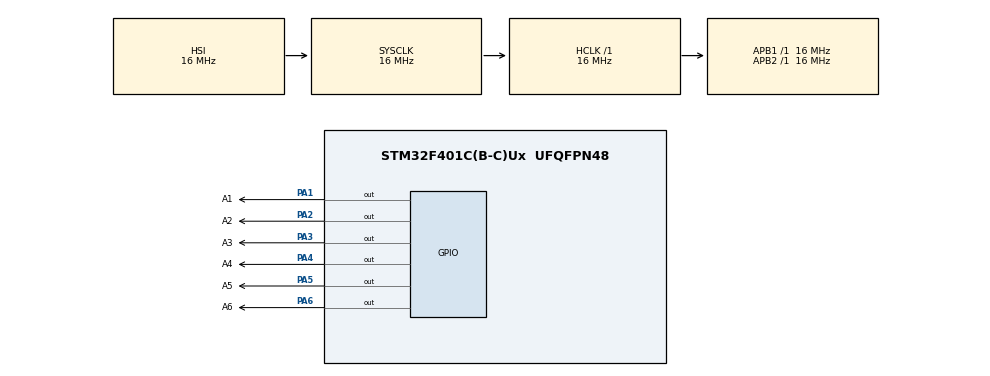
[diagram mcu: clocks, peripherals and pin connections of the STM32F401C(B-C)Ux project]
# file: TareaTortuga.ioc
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Mcu.Family=STM32F4
Mcu.Name=STM32F401C(B-C)Ux
Mcu.Package=UFQFPN48
NVIC.PriorityGroup=NVIC_PRIORITYGROUP_4
PA1.GPIO_Label=A1
PA1.Signal=GPIO_Output
PA2.GPIO_Label=A2
PA2.Signal=GPIO_Output
PA3.GPIO_Label=A3
PA3.Signal=GPIO_Output
PA4.GPIO_Label=A4
PA4.Signal=GPIO_Output
PA5.GPIO_Label=A5
PA5.Signal=GPIO_Output
PA6.GPIO_Label=A6
PA6.Signal=GPIO_Output
ProjectManager.HeapSize=0x200
ProjectManager.StackSize=0x400
ProjectManager.TargetToolchain=CMake
RCC.AHBFreq_Value=16000000
RCC.APB1Freq_Value=16000000
RCC.APB2Freq_Value=16000000
RCC.CortexFreq_Value=16000000
RCC.HSE_VALUE=25000000
RCC.HSI_VALUE=16000000
RCC.LSE_VALUE=32768
RCC.SYSCLKFreq_VALUE=16000000
RCC.VCOOutputFreq_Value=192000000
board=custom

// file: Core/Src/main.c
/* USER CODE BEGIN Header */
/**
  ******************************************************************************
  * @file           : main.c
  * @brief          : Main program body
  ******************************************************************************
  * @attention
  *
  * Copyright (c) 2026 STMicroelectronics.
  * All rights reserved.
  *
  * This software is licensed under terms that can be found in the LICENSE file
  * in the root directory of this software component.
  * If no LICENSE file comes with this software, it is provided AS-IS.
  *
  ******************************************************************************
  */
/* USER CODE END Header */
#include "main.h"

void SystemClock_Config(void);
static void MX_GPIO_Init(void);

/* USER CODE BEGIN 0 */
#define T_GIRO_90 700   // ms que tarda en girar 90° sobre su eje (calibrar)

// Pines
#define MI_EN  GPIO_PIN_3
#define MI_ATR GPIO_PIN_1
#define MI_ADE GPIO_PIN_2
#define MD_EN  GPIO_PIN_6
#define MD_ATR GPIO_PIN_5
#define MD_ADE GPIO_PIN_4

// Orientación actual en grados: 0 = arriba, 90 = derecha, 180 = abajo, 270 = izquierda
int orientacion = 0;

void motorIzq(int dir) {   // 1 adelante, -1 atrás, 0 parar
  HAL_GPIO_WritePin(GPIOA, MI_EN,  dir != 0 ? GPIO_PIN_SET : GPIO_PIN_RESET);
  HAL_GPIO_WritePin(GPIOA, MI_ADE, dir > 0  ? GPIO_PIN_SET : GPIO_PIN_RESET);
  HAL_GPIO_WritePin(GPIOA, MI_ATR, dir < 0  ? GPIO_PIN_SET : GPIO_PIN_RESET);
}

void motorDer(int dir) {
  HAL_GPIO_WritePin(GPIOA, MD_EN,  dir != 0 ? GPIO_PIN_SET : GPIO_PIN_RESET);
  HAL_GPIO_WritePin(GPIOA, MD_ADE, dir > 0  ? GPIO_PIN_SET : GPIO_PIN_RESET);
  HAL_GPIO_WritePin(GPIOA, MD_ATR, dir < 0  ? GPIO_PIN_SET : GPIO_PIN_RESET);
}

void parar(void)    { motorIzq(0);  motorDer(0); }
void adelante(void) { motorIzq(1);  motorDer(1); }

  motorIzq(-1); motorDer(1);
  HAL_Delay(ms);
  parar();
  orientacion = (((orientacion - (int)(ms * 90 / T_GIRO_90)) % 360) + 360) % 360;
}

void girarDerMs(uint32_t ms) {
  motorIzq(1); motorDer(-1);
  HAL_Delay(ms);
  parar();
  orientacion = (orientacion + (int)(ms * 90 / T_GIRO_90)) % 360;
}

void orientar(int objetivo) {
  int diff = (((objetivo - orientacion) % 360) + 360) % 360;
  if (diff == 0) return;
  if (diff <= 180) girarDerMs((uint32_t)T_GIRO_90 * diff / 90);
  else             girarIzqMs((uint32_t)T_GIRO_90 * (360 - diff) / 90);
  orientacion = objetivo;
  HAL_Delay(300);
}

// 1) Vueltas hacia la izquierda, 5 s
void secuencia1(void) {
  girarIzqMs(5000);
  HAL_Delay(500);
}

// 2) Vueltas hacia la derecha, 3 s
void secuencia2(void) {
  orientar(90);
  adelante(); HAL_Delay(3000); parar();
  HAL_Delay(500);
}

// 3) Recto hacia arriba, 2 s
void secuencia3(void) {
  orientar(180);
  adelante(); HAL_Delay(2000); parar();
  HAL_Delay(500);
}

// 4) Vueltas hacia la izquierda, 2 s
void secuencia4(void) {
  orientar(0);
  girarIzqMs(2000);
}
/* USER CODE END 0 */

int main(void)
{

  /* MCU Configuration--------------------------------------------------------*/

  /* Reset of all peripherals, Initializes the Flash interface and the Systick. */
  HAL_Init();

  /* Configure the system clock */
  SystemClock_Config();

  /* Initialize all configured peripherals */
  MX_GPIO_Init();
  /* USER CODE BEGIN 2 */
  parar();
  HAL_Delay(1000);

  motorIzq(1);               HAL_Delay(3000); parar(); HAL_Delay(1500);  // A) solo izquierda adelante
  motorDer(1);               HAL_Delay(3000); parar(); HAL_Delay(1500);  // B) solo derecha adelante
  adelante();                HAL_Delay(3000); parar(); HAL_Delay(1500);  // C) ambas adelante
  motorIzq(-1); motorDer(1); HAL_Delay(3000); parar();                   // D) giro sobre el eje
  /* USER CODE END 2 */

  /* Infinite loop */
  /* USER CODE BEGIN WHILE */
  while (1)
  {
    // HAL_GPIO_TogglePin(LED_GPIO_Port, LED_Pin);
    // HAL_Delay(500);
    /* USER CODE END WHILE */

  }
}

void SystemClock_Config(void)
{
  RCC_OscInitTypeDef RCC_OscInitStruct = {0};
  RCC_ClkInitTypeDef RCC_ClkInitStruct = {0};

  /** Configure the main internal regulator output voltage
  */
  __HAL_RCC_PWR_CLK_ENABLE();
  __HAL_PWR_VOLTAGESCALING_CONFIG(PWR_REGULATOR_VOLTAGE_SCALE2);

  /** Initializes the RCC Oscillators according to the specified parameters
  * in the RCC_OscInitTypeDef structure.
  */
  RCC_OscInitStruct.OscillatorType = RCC_OSCILLATORTYPE_HSI;
  RCC_OscInitStruct.HSIState = RCC_HSI_ON;
  RCC_OscInitStruct.HSICalibrationValue = RCC_HSICALIBRATION_DEFAULT;
  RCC_OscInitStruct.PLL.PLLState = RCC_PLL_NONE;
  if (HAL_RCC_OscConfig(&RCC_OscInitStruct) != HAL_OK)
  {
    Error_Handler();
  }

  /** Initializes the CPU, AHB and APB buses clocks
  */
  RCC_ClkInitStruct.ClockType = RCC_CLOCKTYPE_HCLK|RCC_CLOCKTYPE_SYSCLK
                              |RCC_CLOCKTYPE_PCLK1|RCC_CLOCKTYPE_PCLK2;
  RCC_ClkInitStruct.SYSCLKSource = RCC_SYSCLKSOURCE_HSI;
  RCC_ClkInitStruct.AHBCLKDivider = RCC_SYSCLK_DIV1;
  RCC_ClkInitStruct.APB1CLKDivider = RCC_HCLK_DIV1;
  RCC_ClkInitStruct.APB2CLKDivider = RCC_HCLK_DIV1;

  if (HAL_RCC_ClockConfig(&RCC_ClkInitStruct, FLASH_LATENCY_0) != HAL_OK)
  {
    Error_Handler();
  }
}

static void MX_GPIO_Init(void)
{
  GPIO_InitTypeDef GPIO_InitStruct = {0};

  /* GPIO Ports Clock Enable */
  __HAL_RCC_GPIOA_CLK_ENABLE();

  /*Configure GPIO pin Output Level */
  HAL_GPIO_WritePin(GPIOA, A1_Pin|A2_Pin|A3_Pin|A4_Pin
                          |A5_Pin|A6_Pin, GPIO_PIN_RESET);

  /*Configure GPIO pins : A1_Pin A2_Pin A3_Pin A4_Pin
                           A5_Pin A6_Pin */
  GPIO_InitStruct.Pin = A1_Pin|A2_Pin|A3_Pin|A4_Pin
                          |A5_Pin|A6_Pin;
  GPIO_InitStruct.Mode = GPIO_MODE_OUTPUT_PP;
  GPIO_InitStruct.Pull = GPIO_NOPULL;
  GPIO_InitStruct.Speed = GPIO_SPEED_FREQ_LOW;
  HAL_GPIO_Init(GPIOA, &GPIO_InitStruct);

}

void Error_Handler(void)
{
  __disable_irq();
  while (1)
  {
  }
}
